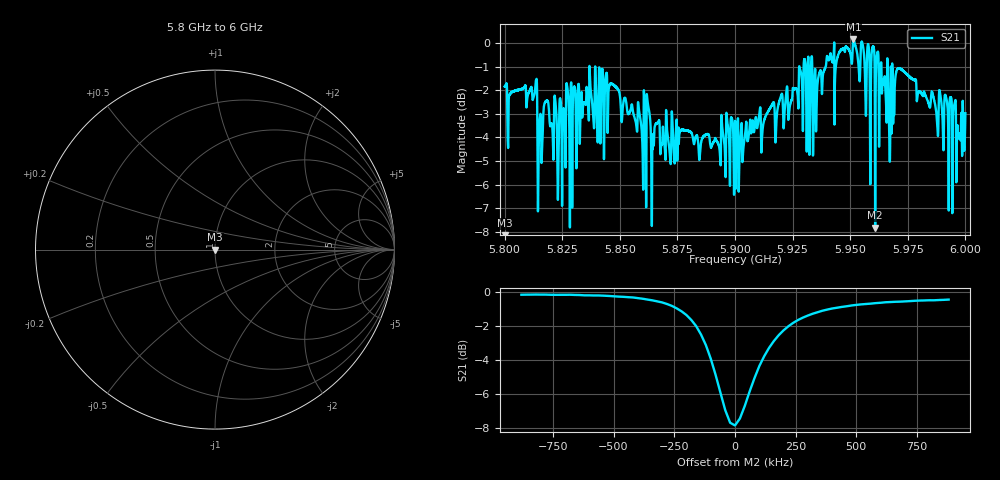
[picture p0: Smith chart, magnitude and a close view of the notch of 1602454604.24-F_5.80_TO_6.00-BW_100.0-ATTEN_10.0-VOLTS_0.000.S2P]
!Keysight Technologies,E5063A,MY54502693,A.05.04
!Date: Mon Oct 12 07:18:21 2020
!Data & Calibration Information:
!Freq	S11:NONE(--)	S21:NONE(--)	S12:NONE(--)	S22:NONE(--)
# Hz S RI R 50
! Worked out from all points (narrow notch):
!   10000 points, 5.8 GHz to 6 GHz, reference 50 ohm
!   highest |S21| = 0.16 dB at 5.9514 GHz (marker M1); lowest = -7.8 dB at 5.9608 GHz (marker M2)
!   notch at M2: 5.2 dB deep, 150 kHz wide at half that depth
!   lowest |S11| = - dB at 5.8 GHz (marker M3), VSWR 1.00, Z = 50 + j0 ohm
!   |S11| at or under -10 dB: start of sweep to end of sweep
!   S12 and S22 are empty: the file has one direction only
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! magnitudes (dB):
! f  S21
! 5.8 GHz  -1.9
! 5.8021 GHz  -2.2
! 5.8131 GHz  -2.1
! 5.8153 GHz  -3.2
! 5.818 GHz  -2.5
! 5.8229 GHz  -4.9
! 5.8333 GHz  -2.1
! 5.8466 GHz  -1.7
! 5.8605 GHz  -2.1
! 5.8625 GHz  -2.8
! 5.8642 GHz  -4.5
! 5.8667 GHz  -3.4
! 5.9 GHz  -3.3
! 5.9282 GHz  -1.1
! 5.9334 GHz  -0.6
! 5.9514 GHz  0.2
! 5.9608 GHz  -7.8
! 5.9667 GHz  -2.5
! 5.9716 GHz  -1.1
! 5.9916 GHz  -2.3
! 5.9969 GHz  -3.9
! 6 GHz  -3.0
